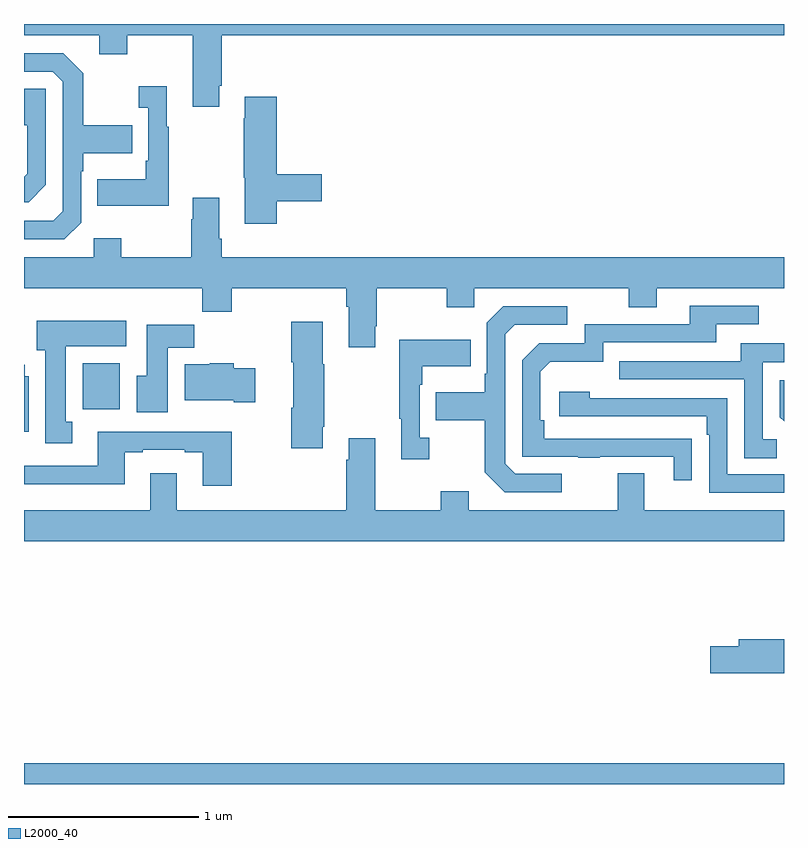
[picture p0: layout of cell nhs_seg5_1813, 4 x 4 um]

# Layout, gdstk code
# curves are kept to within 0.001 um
import gdstk
lib = gdstk.Library(unit=1e-6, precision=1e-09)
def R(c, l, rs):  # rectangles x0, y0, x1, y1
    for r in rs: c.add(gdstk.rectangle(r[:2], r[2:], *l))
def P(c, l, *ps):  # polygons
    for p in ps: c.add(gdstk.Polygon(p, *l))
L2000_40 = (2000, 40)

nhs_seg5_1813 = lib.new_cell('nhs_seg5_1813')
R(nhs_seg5_1813, L2000_40, [(219,872.799,223,872.908), (219.308,874.772,219.505,875.014)])
P(nhs_seg5_1813, L2000_40, [(220.027,876.475),(220.04,876.475),(220.04,876.74),(223,876.74),(223,876.799),(219,876.799),(219,876.74),(219.395,876.74),(219.395,876.641),(219.543,876.641),(219.543,876.74),(219.887,876.74),(219.887,876.363),(220.027,876.363)],
  [(219.3,875.754),(219.3,876.023),(219.313,876.023),(219.313,876.119),(219.569,876.119),(219.569,876.267),(219.313,876.267),(219.313,876.539),(219.207,876.645),(219,876.645),(219,876.549),(219.15,876.549),(219.204,876.495),(219.204,875.814),(219.153,875.763),(219,875.763),(219,875.667),(219.213,875.667)],
  [(219.763,876.259),(219.751,876.259),(219.751,876.472),(219.603,876.472),(219.603,876.359),(219.654,876.359),(219.654,876.079),(219.642,876.079),(219.642,875.983),(219.385,875.983),(219.385,875.843),(219.763,875.843)],
  [(219.114,875.952),(219.114,876.459),(219,876.459),(219,876.266),(219.018,876.266),(219.018,876.012),(219,875.994),(219,875.862),(219.024,875.862)],
  [(220.331,875.866),(220.567,875.866),(220.567,876.008),(220.331,876.008),(220.331,876.415),(220.163,876.415),(220.163,876.302),(220.156,876.302),(220.156,875.991),(220.163,875.991),(220.163,875.748),(220.331,875.748)],
  [(220.04,875.668),(220.027,875.668),(220.027,875.884),(219.887,875.884),(219.887,875.771),(219.88,875.771),(219.88,875.572),(219.513,875.572),(219.513,875.671),(219.366,875.671),(219.366,875.572),(219,875.572),(219,875.408),(219.937,875.408),(219.937,875.284),(220.094,875.284),(220.094,875.408),(220.697,875.408),(220.697,875.312),(220.709,875.312),(220.709,875.097),(220.849,875.097),(220.849,875.209),(220.857,875.209),(220.857,875.408),(221.224,875.408),(221.224,875.309),(221.37,875.309),(221.37,875.408),(222.184,875.408),(222.184,875.309),(222.331,875.309),(222.331,875.408),(223,875.408),(223,875.572),(220.04,875.572)],
  [(222.515,874.616),(221.738,874.617),(221.738,874.714),(221.718,874.714),(221.718,874.968),(221.771,875.021),(222.048,875.021),(222.048,875.124),(222.643,875.124),(222.643,875.22),(222.868,875.22),(222.868,875.316),(222.503,875.316),(222.503,875.22),(221.952,875.22),(221.952,875.118),(221.712,875.118),(221.622,875.028),(221.622,874.521),(221.917,874.521),(221.917,874.516),(222.029,874.516),(222.029,874.521),(222.419,874.521),(222.419,874.398),(222.515,874.398)],
  [(221.83,874.431),(221.586,874.431),(221.532,874.485),(221.532,875.166),(221.583,875.217),(221.86,875.217),(221.86,875.313),(221.523,875.313),(221.436,875.226),(221.436,874.957),(221.424,874.957),(221.424,874.861),(221.167,874.861),(221.167,874.714),(221.424,874.714),(221.424,874.441),(221.529,874.335),(221.83,874.335)],
  [(219.253,874.706),(219.22,874.706),(219.22,875.102),(219.538,875.102),(219.538,875.236),(219.068,875.236),(219.068,875.082),(219.113,875.082),(219.113,874.593),(219.253,874.593)],
  [(220.573,874.678),(220.581,874.678),(220.581,875.009),(220.573,875.009),(220.573,875.233),(220.406,875.233),(220.406,875.02),(220.418,875.02),(220.418,874.778),(220.406,874.778),(220.406,874.566),(220.573,874.566)],
  [(219.757,875.096),(219.896,875.096),(219.896,875.215),(219.647,875.215),(219.647,874.948),(219.593,874.948),(219.593,874.755),(219.757,874.755)],
  [(221.134,874.622),(221.082,874.622),(221.082,874.901),(221.095,874.901),(221.095,874.997),(221.351,874.997),(221.351,875.137),(220.974,875.137),(220.974,874.721),(220.985,874.721),(220.985,874.509),(221.134,874.509)],
  [(222.961,874.614),(222.888,874.614),(222.888,875.019),(223,875.019),(223,875.119),(222.773,875.119),(222.773,875.025),(222.133,875.025),(222.133,874.929),(222.792,874.929),(222.792,874.513),(222.961,874.513)],
  [(220.216,874.986),(220.104,874.986),(220.104,875.014),(219.978,875.014),(219.978,875.008),(219.845,875.008),(219.845,874.82),(220.103,874.82),(220.103,874.808),(220.216,874.808)],
  [(219.025,874.944),(219.004,874.944),(219.004,875.005),(219,875.005),(219,874.652),(219.025,874.652)],
  [(223,874.924),(222.978,874.924),(222.978,874.73),(223,874.708)],
  [(223,874.428),(222.702,874.428),(222.702,874.83),(221.978,874.83),(221.978,874.864),(221.817,874.864),(221.817,874.734),(222.593,874.734),(222.593,874.637),(222.606,874.637),(222.606,874.332),(223,874.332)],
  [(220.094,874.654),(219.853,874.654),(219.853,874.653),(219.389,874.653),(219.389,874.473),(219,874.473),(219,874.376),(219.529,874.376),(219.529,874.545),(219.625,874.545),(219.625,874.557),(219.845,874.557),(219.845,874.545),(219.941,874.545),(219.941,874.368),(220.094,874.368)],
  [(223,874.24),(222.265,874.24),(222.265,874.435),(222.125,874.435),(222.125,874.24),(221.341,874.24),(221.341,874.339),(221.194,874.339),(221.194,874.24),(220.849,874.24),(220.849,874.618),(220.709,874.618),(220.709,874.505),(220.697,874.505),(220.697,874.24),(219.805,874.24),(219.805,874.435),(219.665,874.435),(219.665,874.24),(219,874.24),(219,874.076),(223,874.076)],
  [(223,873.56),(222.761,873.56),(222.761,873.524),(222.612,873.524),(222.612,873.382),(223,873.382)])

lib.write_gds('nhs_seg5_1813.gds')
